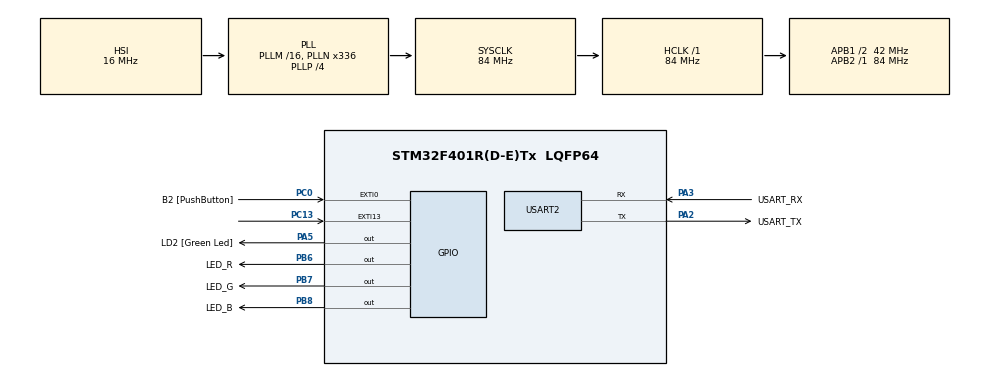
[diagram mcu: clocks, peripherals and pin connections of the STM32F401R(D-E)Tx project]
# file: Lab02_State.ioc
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Mcu.Family=STM32F4
Mcu.Name=STM32F401R(D-E)Tx
Mcu.Package=LQFP64
NVIC.EXTI0_IRQn=true\:0\:0\:false\:false\:true\:true\:true
NVIC.EXTI15_10_IRQn=true\:0\:0\:false\:false\:true\:true\:true
NVIC.PriorityGroup=NVIC_PRIORITYGROUP_0
PA13.GPIO_Label=TMS
PA13.Mode=Serial_Wire
PA13.Signal=SYS_JTMS-SWDIO
PA14.GPIO_Label=TCK
PA14.Mode=Serial_Wire
PA14.Signal=SYS_JTCK-SWCLK
PA2.GPIO_Label=USART_TX
PA2.GPIO_Mode=GPIO_MODE_AF_PP
PA2.GPIO_PuPd=GPIO_NOPULL
PA2.GPIO_Speed=GPIO_SPEED_FREQ_LOW
PA2.Mode=Asynchronous
PA2.Signal=USART2_TX
PA3.GPIO_Label=USART_RX
PA3.GPIO_Mode=GPIO_MODE_AF_PP
PA3.GPIO_PuPd=GPIO_NOPULL
PA3.GPIO_Speed=GPIO_SPEED_FREQ_LOW
PA3.Mode=Asynchronous
PA3.Signal=USART2_RX
PA5.GPIO_Label=LD2 [Green Led]
PA5.GPIO_Mode=GPIO_MODE_OUTPUT_PP
PA5.GPIO_PuPd=GPIO_NOPULL
PA5.GPIO_Speed=GPIO_SPEED_FREQ_LOW
PA5.Signal=GPIO_Output
PB3.GPIO_Label=SWO
PB3.Signal=SYS_JTDO-SWO
PB6.GPIO_Label=LED_R
PB6.Signal=GPIO_Output
PB7.GPIO_Label=LED_G
PB7.Signal=GPIO_Output
PB8.GPIO_Label=LED_B
PB8.Signal=GPIO_Output
PC0.GPIO_Label=B2 [PushButton]
PC0.GPIO_ModeDefaultEXTI=GPIO_MODE_IT_FALLING
PC0.GPIO_PuPd=GPIO_PULLUP
PC0.Signal=GPXTI0
PC13-ANTI_TAMP.GPIO_ModeDefaultEXTI=GPIO_MODE_IT_FALLING
PC13-ANTI_TAMP.GPIO_PuPd=GPIO_PULLUP
PC13-ANTI_TAMP.Signal=GPXTI13
PC14-OSC32_IN.Mode=LSE-External-Oscillator
PC14-OSC32_IN.Signal=RCC_OSC32_IN
PC15-OSC32_OUT.Mode=LSE-External-Oscillator
PC15-OSC32_OUT.Signal=RCC_OSC32_OUT
PH0\ -\ OSC_IN.Mode=HSE-External-Clock-Source
PH0\ -\ OSC_IN.Signal=RCC_OSC_IN
PH1\ -\ OSC_OUT.Mode=HSE-External-Clock-Source
PH1\ -\ OSC_OUT.Signal=RCC_OSC_OUT
ProjectManager.HeapSize=0x200
ProjectManager.StackSize=0x400
ProjectManager.TargetToolchain=STM32CubeIDE
RCC.48MHZClocksFreq_Value=48000000
RCC.AHBFreq_Value=84000000
RCC.APB1CLKDivider=RCC_HCLK_DIV2
RCC.APB1Freq_Value=42000000
RCC.APB1TimFreq_Value=84000000
RCC.APB2Freq_Value=84000000
RCC.APB2TimFreq_Value=84000000
RCC.CortexFreq_Value=84000000
RCC.HCLKFreq_Value=84000000
RCC.HSE_VALUE=8000000
RCC.HSI_VALUE=16000000
RCC.PLLN=336
RCC.PLLP=RCC_PLLP_DIV4
RCC.PLLQ=7
RCC.SYSCLKFreq_VALUE=84000000
RCC.SYSCLKSource=RCC_SYSCLKSOURCE_PLLCLK
RCC.VCOOutputFreq_Value=336000000
USART2.VirtualMode=VM_ASYNC
board=NUCLEO-F401RE

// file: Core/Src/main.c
/* USER CODE BEGIN Header */
/**
  ******************************************************************************
  * @file           : main.c
  * @brief          : Main program body
  ******************************************************************************
  * @attention
  *
  * <h2><center>&copy; Copyright (c) 2020 STMicroelectronics.
  * All rights reserved.</center></h2>
  *
  * This software component is licensed by ST under BSD 3-Clause license,
  * the "License"; You may not use this file except in compliance with the
  * License. You may obtain a copy of the License at:
  *                        opensource.org/licenses/BSD-3-Clause
  *
  ******************************************************************************
  */
/* USER CODE END Header */

#include "main.h"

UART_HandleTypeDef huart2;

void SystemClock_Config(void);
static void MX_GPIO_Init(void);
static void MX_USART2_UART_Init(void);
/* USER CODE BEGIN PFP */
void diod();
/* USER CODE END PFP */

/* USER CODE BEGIN 0 */
typedef enum {s_WHITE, s_WHITEWAIT, s_BLUEWAIT, s_BLUE, s_REDWAIT, s_RED, s_GREENWAIT, s_GREEN, s_YELLOWWAIT, s_YELLOW, s_TURQOUISEWAIT, s_TURQOUISE, s_PURPLEWAIT, s_PURPLE, s_BLACKWAIT, s_BLACK} state_colour;
typedef enum {OFF, KNAPP} event_t;
static state_colour colour = s_WHITE;
static event_t event = OFF;
/* USER CODE END 0 */

int main(void)
{

  /* MCU Configuration--------------------------------------------------------*/

  /* Reset of all peripherals, Initializes the Flash interface and the Systick. */
  HAL_Init();

  /* Configure the system clock */
  SystemClock_Config();

  /* Initialize all configured peripherals */
  MX_GPIO_Init();
  MX_USART2_UART_Init();
  /* USER CODE BEGIN 2 */
void diod()
  {
  	switch(colour)
  		  	  {
  		  	  	case s_WHITE:

  		  	  		HAL_GPIO_WritePin(GPIOB, LED_R_Pin, 0);
  		  	  		HAL_GPIO_WritePin(GPIOB, LED_G_Pin, 0);
  		  	  		HAL_GPIO_WritePin(GPIOB, LED_B_Pin, 0);

  		  	  		HAL_Delay(50);

  		  	  		if(event == KNAPP)
  		  	  		{
  		  	  			colour = s_WHITEWAIT;
  		  	  			break;
  		  	  		}
  		  	  		break;

  		  	  	case s_WHITEWAIT:
  		  	  		//HAL_Delay(40);
  		  	  		event = OFF;
  		  	  		colour = s_BLUE;
  		  	  		break;

  		  	  	case s_BLUE:

  		  	  		HAL_GPIO_WritePin(GPIOB, LED_R_Pin, 1);
  		  	  		HAL_GPIO_WritePin(GPIOB, LED_G_Pin, 1);
  		  	  		HAL_GPIO_WritePin(GPIOB, LED_B_Pin, 0);

  		  	  		HAL_Delay(50);
  		  	  		if(event == KNAPP)
  		  	  		{
  		  	  			colour = s_BLUEWAIT;
  		  	  			break;
  		  	  		}
  		  	  		break;

  		  	  	case s_BLUEWAIT:
  		  	  		//HAL_Delay(400);
  		  	  		event = OFF;
  		  	  		colour = s_RED;
  		  	  		break;

  		  	  	case s_RED:

  		  	  		HAL_GPIO_WritePin(GPIOB, LED_R_Pin, 0);
  		  	  		HAL_GPIO_WritePin(GPIOB, LED_G_Pin, 1);
  		  	  		HAL_GPIO_WritePin(GPIOB, LED_B_Pin, 1);
  		  	  		HAL_Delay(50);
  		  	  		if(event == KNAPP)
  		  	  		{
  		  	  			colour = s_REDWAIT;
  		  	  			break;
  		  	  		}
  		  	  		break;

  		  	  	case s_REDWAIT:
  		  	  		//HAL_Delay(400);
  		  	  		event = OFF;
  		  	  		colour = s_GREEN;
  		  	  		break;

  		  	  	case s_GREEN:
  		  	  		HAL_GPIO_WritePin(GPIOB, LED_R_Pin, 1);
  		  	  		HAL_GPIO_WritePin(GPIOB, LED_G_Pin, 0);
  		  	  		HAL_GPIO_WritePin(GPIOB, LED_B_Pin, 1);

  		  	  		HAL_Delay(50);
  		  	  		if(event == KNAPP)
  		  	  		{
  		  	  			colour = s_GREENWAIT;
  		  	  			break;
  		  	  		}
  		  	  		break;

  		  	  	case s_GREENWAIT:
  		  	  		//HAL_Delay(400);
  		  	  		event = OFF;
  		  	  		colour = s_YELLOW;
  		  	  		break;

  		  	  	case s_YELLOW:

  		  	  		HAL_GPIO_WritePin(GPIOB, LED_R_Pin, 0);
  		  	  		HAL_GPIO_WritePin(GPIOB, LED_G_Pin, 0);
  		  	  		HAL_GPIO_WritePin(GPIOB, LED_B_Pin, 1);

  		  	  		HAL_Delay(50);
  		  	  		if(event == KNAPP)
  		  	  		{
  		  	  			colour = s_YELLOWWAIT;
  		  	  			break;

  		  	  		}
  		  	  		break;

  		  	  	case s_YELLOWWAIT:
  		  	  		//HAL_Delay(400);
  		  	  		event = OFF;
  		  	  		colour = s_PURPLE;
  		  	  		break;

  		  	  	case s_PURPLE:

  		  	  		HAL_GPIO_WritePin(GPIOB, LED_R_Pin, 0);
  		  	  		HAL_GPIO_WritePin(GPIOB, LED_G_Pin, 1);
  		  	  		HAL_GPIO_WritePin(GPIOB, LED_B_Pin, 0);

  	  	  			HAL_Delay(50);
  	  	  			if(event == KNAPP)
  	  	  			{
  	  	  				colour = s_PURPLEWAIT;
  	  	  				break;
  	  	  			}
  	  	  			break;

  		  	  	case s_PURPLEWAIT:
  		  	  		//HAL_Delay(400);
  		  	  		event = OFF;
  		  	  		colour = s_TURQOUISE;
  		  	  		break;

  		  	  	case s_TURQOUISE:

  		  	  		HAL_GPIO_WritePin(GPIOB, LED_R_Pin, 1);
  		  	  		HAL_GPIO_WritePin(GPIOB, LED_G_Pin, 0);
  		  	  		HAL_GPIO_WritePin(GPIOB, LED_B_Pin, 0);

  		  	  		HAL_Delay(50);
  		  	  		if(event == KNAPP)
  		  	  		{
  		  	  			colour = s_TURQOUISEWAIT;
  		  	  			break;
  		  	  		}
  		  	  		break;

  		  	  	case s_TURQOUISEWAIT:
  		  	  		//HAL_Delay(400);
  		  	  		event = OFF;
  		  	  		colour = s_BLACK;
  		  	  		break;

  		  	  	case s_BLACK:

  		  	  		HAL_GPIO_WritePin(GPIOB, LED_R_Pin, 1);
  		  	  		HAL_GPIO_WritePin(GPIOB, LED_G_Pin, 1);
  		  	  		HAL_GPIO_WritePin(GPIOB, LED_B_Pin, 1);

  		  	  		HAL_Delay(50);
  		  	  		if(event == KNAPP)
  		  	  		{
  		  	  			colour = s_BLACKWAIT;
  		  	  			break;
  		  	  		}
  		  	  		break;

  		  	  	case s_BLACKWAIT:
  		  	  		//HAL_Delay(400);
  		  	  		event = OFF;
  		  	  		colour = s_WHITE;
  		  	  		break;

  		  	  }

  }
  /* USER CODE END 2 */

  /* Infinite loop */
  while (1)
  {

    /* USER CODE BEGIN 3 */

	  diod();

  }
  /* USER CODE END 3 */
}

void SystemClock_Config(void)
{
  RCC_OscInitTypeDef RCC_OscInitStruct = {0};
  RCC_ClkInitTypeDef RCC_ClkInitStruct = {0};

  /** Configure the main internal regulator output voltage
  */
  __HAL_RCC_PWR_CLK_ENABLE();
  __HAL_PWR_VOLTAGESCALING_CONFIG(PWR_REGULATOR_VOLTAGE_SCALE2);
  /** Initializes the CPU, AHB and APB busses clocks
  */
  RCC_OscInitStruct.OscillatorType = RCC_OSCILLATORTYPE_HSI;
  RCC_OscInitStruct.HSIState = RCC_HSI_ON;
  RCC_OscInitStruct.HSICalibrationValue = RCC_HSICALIBRATION_DEFAULT;
  RCC_OscInitStruct.PLL.PLLState = RCC_PLL_ON;
  RCC_OscInitStruct.PLL.PLLSource = RCC_PLLSOURCE_HSI;
  RCC_OscInitStruct.PLL.PLLM = 16;
  RCC_OscInitStruct.PLL.PLLN = 336;
  RCC_OscInitStruct.PLL.PLLP = RCC_PLLP_DIV4;
  RCC_OscInitStruct.PLL.PLLQ = 7;
  if (HAL_RCC_OscConfig(&RCC_OscInitStruct) != HAL_OK)
  {
    Error_Handler();
  }
  /** Initializes the CPU, AHB and APB busses clocks
  */
  RCC_ClkInitStruct.ClockType = RCC_CLOCKTYPE_HCLK|RCC_CLOCKTYPE_SYSCLK
                              |RCC_CLOCKTYPE_PCLK1|RCC_CLOCKTYPE_PCLK2;
  RCC_ClkInitStruct.SYSCLKSource = RCC_SYSCLKSOURCE_PLLCLK;
  RCC_ClkInitStruct.AHBCLKDivider = RCC_SYSCLK_DIV1;
  RCC_ClkInitStruct.APB1CLKDivider = RCC_HCLK_DIV2;
  RCC_ClkInitStruct.APB2CLKDivider = RCC_HCLK_DIV1;

  if (HAL_RCC_ClockConfig(&RCC_ClkInitStruct, FLASH_LATENCY_2) != HAL_OK)
  {
    Error_Handler();
  }
}

static void MX_USART2_UART_Init(void)
{

  huart2.Instance = USART2;
  huart2.Init.BaudRate = 115200;
  huart2.Init.WordLength = UART_WORDLENGTH_8B;
  huart2.Init.StopBits = UART_STOPBITS_1;
  huart2.Init.Parity = UART_PARITY_NONE;
  huart2.Init.Mode = UART_MODE_TX_RX;
  huart2.Init.HwFlowCtl = UART_HWCONTROL_NONE;
  huart2.Init.OverSampling = UART_OVERSAMPLING_16;
  if (HAL_UART_Init(&huart2) != HAL_OK)
  {
    Error_Handler();
  }

}

static void MX_GPIO_Init(void)
{
  GPIO_InitTypeDef GPIO_InitStruct = {0};

  /* GPIO Ports Clock Enable */
  __HAL_RCC_GPIOC_CLK_ENABLE();
  __HAL_RCC_GPIOH_CLK_ENABLE();
  __HAL_RCC_GPIOA_CLK_ENABLE();
  __HAL_RCC_GPIOB_CLK_ENABLE();

  /*Configure GPIO pin Output Level */
  HAL_GPIO_WritePin(LD2_GPIO_Port, LD2_Pin, GPIO_PIN_RESET);

  /*Configure GPIO pin Output Level */
  HAL_GPIO_WritePin(GPIOB, LED_R_Pin|LED_G_Pin|LED_B_Pin, GPIO_PIN_RESET);

  /*Configure GPIO pins : PC13 B2_Pin */
  GPIO_InitStruct.Pin = GPIO_PIN_13|B2_Pin;
  GPIO_InitStruct.Mode = GPIO_MODE_IT_FALLING;
  GPIO_InitStruct.Pull = GPIO_PULLUP;
  HAL_GPIO_Init(GPIOC, &GPIO_InitStruct);

  /*Configure GPIO pin : LD2_Pin */
  GPIO_InitStruct.Pin = LD2_Pin;
  GPIO_InitStruct.Mode = GPIO_MODE_OUTPUT_PP;
  GPIO_InitStruct.Pull = GPIO_NOPULL;
  GPIO_InitStruct.Speed = GPIO_SPEED_FREQ_LOW;
  HAL_GPIO_Init(LD2_GPIO_Port, &GPIO_InitStruct);

  /*Configure GPIO pins : LED_R_Pin LED_G_Pin LED_B_Pin */
  GPIO_InitStruct.Pin = LED_R_Pin|LED_G_Pin|LED_B_Pin;
  GPIO_InitStruct.Mode = GPIO_MODE_OUTPUT_PP;
  GPIO_InitStruct.Pull = GPIO_NOPULL;
  GPIO_InitStruct.Speed = GPIO_SPEED_FREQ_LOW;
  HAL_GPIO_Init(GPIOB, &GPIO_InitStruct);

  /* EXTI interrupt init*/
  HAL_NVIC_SetPriority(EXTI0_IRQn, 0, 0);
  HAL_NVIC_EnableIRQ(EXTI0_IRQn);

  HAL_NVIC_SetPriority(EXTI15_10_IRQn, 0, 0);
  HAL_NVIC_EnableIRQ(EXTI15_10_IRQn);

}

/* USER CODE BEGIN 4 */

void HAL_GPIO_EXTI_Callback(uint16_t GPIO_Pin)
{
	//HAL_Delay(20);
	if(HAL_GPIO_ReadPin(GPIOC, GPIO_PIN_13))
	{
		event = KNAPP;
	}
}
/* USER CODE END 4 */

void Error_Handler(void)
{
}

/************************ (C) COPYRIGHT STMicroelectronics *****END OF FILE****/
